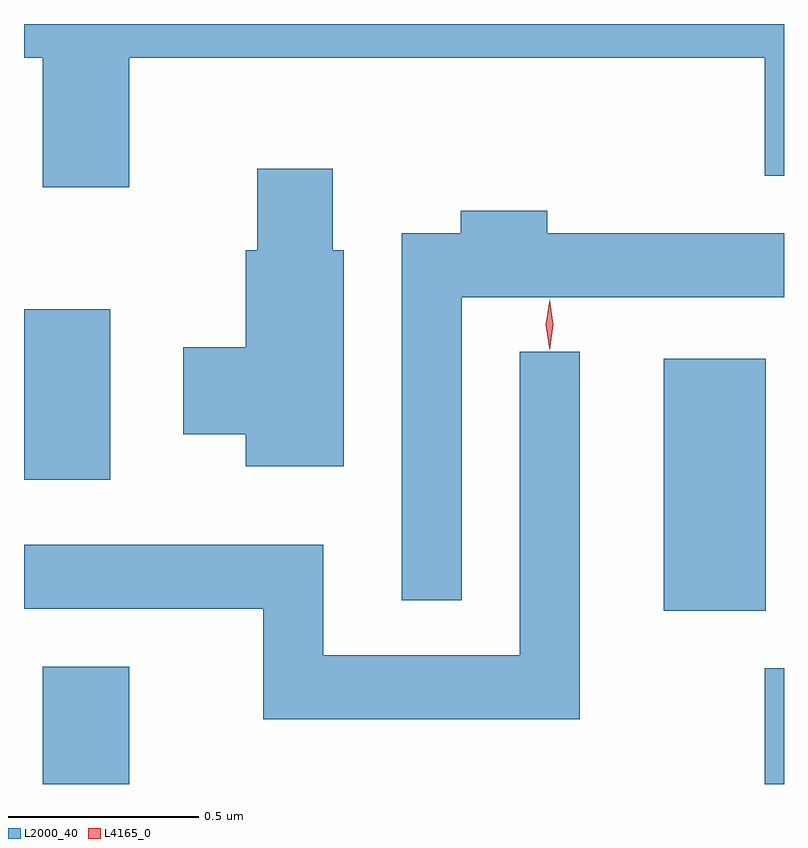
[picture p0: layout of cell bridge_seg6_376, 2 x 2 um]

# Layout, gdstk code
import gdstk
lib = gdstk.Library(unit=1e-6, precision=1e-09)
def R(c, l, rs):  # rectangles x0, y0, x1, y1
    for r in rs: c.add(gdstk.rectangle(r[:2], r[2:], *l))
def P(c, l, *ps):  # polygons
    for p in ps: c.add(gdstk.Polygon(p, *l))
L2000_40 = (2000, 40)
L4165_0 = (4165, 0)

bridge_seg6_376 = lib.new_cell('bridge_seg6_376')
R(bridge_seg6_376, L2000_40, [(1292.911,1537.025,1293.139,1537.334), (1294.811,1537.025,1294.862,1537.329), (1294.546,1537.481,1294.814,1538.144), (1292.862,1537.826,1293.089,1538.274)])
P(bridge_seg6_376, L2000_40, [(1293.139,1538.936),(1294.811,1538.936),(1294.811,1538.626),(1294.862,1538.626),(1294.862,1539.025),(1292.862,1539.025),(1292.862,1538.936),(1292.911,1538.936),(1292.911,1538.596),(1293.139,1538.596)],
  [(1293.704,1538.429),(1293.674,1538.429),(1293.674,1538.644),(1293.476,1538.644),(1293.476,1538.429),(1293.446,1538.429),(1293.446,1538.174),(1293.281,1538.174),(1293.281,1537.946),(1293.446,1537.946),(1293.446,1537.861),(1293.704,1537.861)],
  [(1294.014,1538.306),(1294.862,1538.306),(1294.862,1538.474),(1294.239,1538.474),(1294.239,1538.534),(1294.011,1538.534),(1294.011,1538.474),(1293.856,1538.474),(1293.856,1537.508),(1294.014,1537.508)],
  [(1294.324,1538.163),(1294.166,1538.163),(1294.166,1537.364),(1293.649,1537.364),(1293.649,1537.654),(1292.862,1537.654),(1292.862,1537.486),(1293.491,1537.486),(1293.491,1537.196),(1294.324,1537.196)])
P(bridge_seg6_376, L4165_0, [(1294.245,1538.167),(1294.245,1538.167),(1294.235,1538.234),(1294.245,1538.3),(1294.245,1538.301),(1294.246,1538.3),(1294.255,1538.234),(1294.246,1538.167)])

lib.write_gds('bridge_seg6_376.gds')
